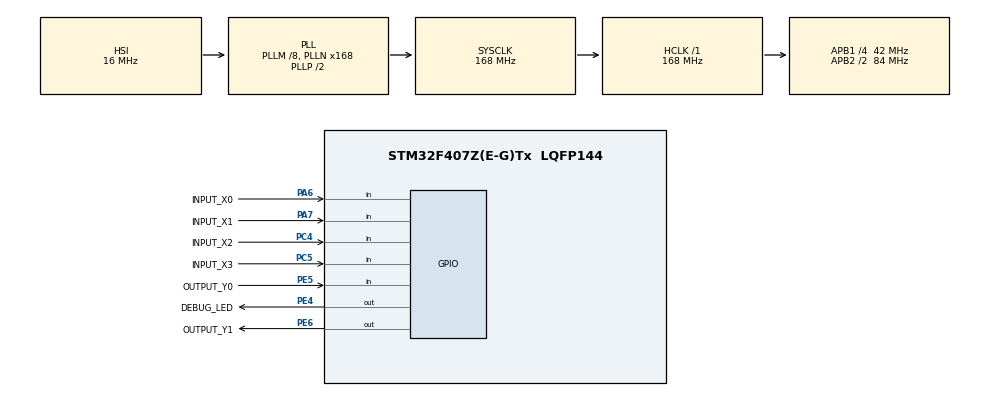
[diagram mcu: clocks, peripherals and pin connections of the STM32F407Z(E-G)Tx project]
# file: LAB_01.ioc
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Mcu.Family=STM32F4
Mcu.Name=STM32F407Z(E-G)Tx
Mcu.Package=LQFP144
NVIC.PriorityGroup=NVIC_PRIORITYGROUP_4
PA13.Mode=Serial_Wire
PA13.Signal=SYS_JTMS-SWDIO
PA14.Mode=Serial_Wire
PA14.Signal=SYS_JTCK-SWCLK
PA6.GPIO_Label=INPUT_X0
PA6.Signal=GPIO_Input
PA7.GPIO_Label=INPUT_X1
PA7.Signal=GPIO_Input
PC4.GPIO_Label=INPUT_X2
PC4.Signal=GPIO_Input
PC5.GPIO_Label=INPUT_X3
PC5.Signal=GPIO_Input
PE4.GPIO_Label=DEBUG_LED
PE4.Signal=GPIO_Output
PE5.GPIO_Label=OUTPUT_Y0
PE5.Signal=GPIO_Input
PE6.GPIO_Label=OUTPUT_Y1
PE6.Signal=GPIO_Output
PH0-OSC_IN.Mode=HSE-External-Oscillator
PH0-OSC_IN.Signal=RCC_OSC_IN
PH1-OSC_OUT.Mode=HSE-External-Oscillator
PH1-OSC_OUT.Signal=RCC_OSC_OUT
ProjectManager.HeapSize=0x200
ProjectManager.StackSize=0x400
ProjectManager.TargetToolchain=STM32CubeIDE
RCC.48MHZClocksFreq_Value=84000000
RCC.AHBFreq_Value=168000000
RCC.APB1CLKDivider=RCC_HCLK_DIV4
RCC.APB1Freq_Value=42000000
RCC.APB1TimFreq_Value=84000000
RCC.APB2CLKDivider=RCC_HCLK_DIV2
RCC.APB2Freq_Value=84000000
RCC.APB2TimFreq_Value=168000000
RCC.CortexFreq_Value=168000000
RCC.HCLKFreq_Value=168000000
RCC.HSE_VALUE=8000000
RCC.HSI_VALUE=16000000
RCC.LSE_VALUE=32768
RCC.PLLM=8
RCC.PLLN=168
RCC.SYSCLKFreq_VALUE=168000000
RCC.SYSCLKSource=RCC_SYSCLKSOURCE_PLLCLK
RCC.VCOOutputFreq_Value=336000000
board=custom

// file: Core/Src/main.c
/* USER CODE BEGIN Header */
/**
  ******************************************************************************
  * @file           : main.c
  * @brief          : Main program body
  ******************************************************************************
  * @attention
  *
  * <h2><center>&copy; Copyright (c) 2025 STMicroelectronics.
  * All rights reserved.</center></h2>
  *
  * This software component is licensed by ST under BSD 3-Clause license,
  * the "License"; You may not use this file except in compliance with the
  * License. You may obtain a copy of the License at:
  *                        opensource.org/licenses/BSD-3-Clause
  *
  ******************************************************************************
  */
/* USER CODE END Header */
#include "main.h"

void SystemClock_Config(void);
static void MX_GPIO_Init(void);

/* USER CODE BEGIN 0 */
void bai_1() {
	HAL_GPIO_WritePin(DEBUG_LED_GPIO_Port, DEBUG_LED_Pin, 1);
	HAL_Delay(2000);
	HAL_GPIO_WritePin(DEBUG_LED_GPIO_Port, DEBUG_LED_Pin, 0);
	HAL_Delay(4000);
}

int count_b2 = 6;

void bai_2() {
	if (count_b2 == 4)
		HAL_GPIO_WritePin(DEBUG_LED_GPIO_Port, DEBUG_LED_Pin, 1);
	else if (count_b2 == 0) {
		HAL_GPIO_WritePin(DEBUG_LED_GPIO_Port, DEBUG_LED_Pin, 0);
		count_b2 = 6;
	}
	--count_b2;
	HAL_Delay(1000);
}

int count_b3 = 9;

void bai_3() {
	switch (count_b3) {
	  case 6:
		  HAL_GPIO_WritePin(DEBUG_LED_GPIO_Port, DEBUG_LED_Pin, 0);
		  HAL_GPIO_WritePin(OUTPUT_Y0_GPIO_Port, OUTPUT_Y0_Pin, 1);
		  HAL_GPIO_WritePin(OUTPUT_Y1_GPIO_Port, OUTPUT_Y1_Pin, 0);
		  break;
	  case 5:
		  HAL_GPIO_WritePin(DEBUG_LED_GPIO_Port, DEBUG_LED_Pin, 0);
		  HAL_GPIO_WritePin(OUTPUT_Y0_GPIO_Port, OUTPUT_Y0_Pin, 0);
		  HAL_GPIO_WritePin(OUTPUT_Y1_GPIO_Port, OUTPUT_Y1_Pin, 1);
		  break;
	  case 0:
		  HAL_GPIO_WritePin(DEBUG_LED_GPIO_Port, DEBUG_LED_Pin, 1);
		  HAL_GPIO_WritePin(OUTPUT_Y0_GPIO_Port, OUTPUT_Y0_Pin, 0);
		  HAL_GPIO_WritePin(OUTPUT_Y1_GPIO_Port, OUTPUT_Y1_Pin, 0);
		  count_b3 = 9;
		  break;
	  }
	  HAL_Delay(1000);
	  --count_b3;
}
/* USER CODE END 0 */

int main(void)
{

  /* MCU Configuration--------------------------------------------------------*/

  /* Reset of all peripherals, Initializes the Flash interface and the Systick. */
  HAL_Init();

  /* Configure the system clock */
  SystemClock_Config();

  /* Initialize all configured peripherals */
  MX_GPIO_Init();

  /* Infinite loop */
  /* USER CODE BEGIN WHILE */
  HAL_GPIO_WritePin(DEBUG_LED_GPIO_Port, DEBUG_LED_Pin, 0);
  HAL_GPIO_WritePin(OUTPUT_Y0_GPIO_Port, OUTPUT_Y0_Pin, 0);
  HAL_GPIO_WritePin(OUTPUT_Y1_GPIO_Port, OUTPUT_Y1_Pin, 0);
  while (1)
  {
	  bai_1();
//	  bai_2();
//	  bai_3();
    /* USER CODE END WHILE */

  }
}

void SystemClock_Config(void)
{
  RCC_OscInitTypeDef RCC_OscInitStruct = {0};
  RCC_ClkInitTypeDef RCC_ClkInitStruct = {0};

  /** Configure the main internal regulator output voltage
  */
  __HAL_RCC_PWR_CLK_ENABLE();
  __HAL_PWR_VOLTAGESCALING_CONFIG(PWR_REGULATOR_VOLTAGE_SCALE1);
  /** Initializes the RCC Oscillators according to the specified parameters
  * in the RCC_OscInitTypeDef structure.
  */
  RCC_OscInitStruct.OscillatorType = RCC_OSCILLATORTYPE_HSI;
  RCC_OscInitStruct.HSIState = RCC_HSI_ON;
  RCC_OscInitStruct.HSICalibrationValue = RCC_HSICALIBRATION_DEFAULT;
  RCC_OscInitStruct.PLL.PLLState = RCC_PLL_ON;
  RCC_OscInitStruct.PLL.PLLSource = RCC_PLLSOURCE_HSI;
  RCC_OscInitStruct.PLL.PLLM = 8;
  RCC_OscInitStruct.PLL.PLLN = 168;
  RCC_OscInitStruct.PLL.PLLP = RCC_PLLP_DIV2;
  RCC_OscInitStruct.PLL.PLLQ = 4;
  if (HAL_RCC_OscConfig(&RCC_OscInitStruct) != HAL_OK)
  {
    Error_Handler();
  }
  /** Initializes the CPU, AHB and APB buses clocks
  */
  RCC_ClkInitStruct.ClockType = RCC_CLOCKTYPE_HCLK|RCC_CLOCKTYPE_SYSCLK
                              |RCC_CLOCKTYPE_PCLK1|RCC_CLOCKTYPE_PCLK2;
  RCC_ClkInitStruct.SYSCLKSource = RCC_SYSCLKSOURCE_PLLCLK;
  RCC_ClkInitStruct.AHBCLKDivider = RCC_SYSCLK_DIV1;
  RCC_ClkInitStruct.APB1CLKDivider = RCC_HCLK_DIV4;
  RCC_ClkInitStruct.APB2CLKDivider = RCC_HCLK_DIV2;

  if (HAL_RCC_ClockConfig(&RCC_ClkInitStruct, FLASH_LATENCY_5) != HAL_OK)
  {
    Error_Handler();
  }
}

static void MX_GPIO_Init(void)
{
  GPIO_InitTypeDef GPIO_InitStruct = {0};

  /* GPIO Ports Clock Enable */
  __HAL_RCC_GPIOE_CLK_ENABLE();
  __HAL_RCC_GPIOH_CLK_ENABLE();
  __HAL_RCC_GPIOA_CLK_ENABLE();
  __HAL_RCC_GPIOC_CLK_ENABLE();

  /*Configure GPIO pin Output Level */
  HAL_GPIO_WritePin(GPIOE, DEBUG_LED_Pin|OUTPUT_Y1_Pin, GPIO_PIN_RESET);

  /*Configure GPIO pins : DEBUG_LED_Pin OUTPUT_Y1_Pin */
  GPIO_InitStruct.Pin = DEBUG_LED_Pin|OUTPUT_Y1_Pin;
  GPIO_InitStruct.Mode = GPIO_MODE_OUTPUT_PP;
  GPIO_InitStruct.Pull = GPIO_NOPULL;
  GPIO_InitStruct.Speed = GPIO_SPEED_FREQ_LOW;
  HAL_GPIO_Init(GPIOE, &GPIO_InitStruct);

  /*Configure GPIO pin : OUTPUT_Y0_Pin */
  GPIO_InitStruct.Pin = OUTPUT_Y0_Pin;
  GPIO_InitStruct.Mode = GPIO_MODE_INPUT;
  GPIO_InitStruct.Pull = GPIO_NOPULL;
  HAL_GPIO_Init(OUTPUT_Y0_GPIO_Port, &GPIO_InitStruct);

  /*Configure GPIO pins : INPUT_X0_Pin INPUT_X1_Pin */
  GPIO_InitStruct.Pin = INPUT_X0_Pin|INPUT_X1_Pin;
  GPIO_InitStruct.Mode = GPIO_MODE_INPUT;
  GPIO_InitStruct.Pull = GPIO_NOPULL;
  HAL_GPIO_Init(GPIOA, &GPIO_InitStruct);

  /*Configure GPIO pins : INPUT_X2_Pin INPUT_X3_Pin */
  GPIO_InitStruct.Pin = INPUT_X2_Pin|INPUT_X3_Pin;
  GPIO_InitStruct.Mode = GPIO_MODE_INPUT;
  GPIO_InitStruct.Pull = GPIO_NOPULL;
  HAL_GPIO_Init(GPIOC, &GPIO_InitStruct);

}

void Error_Handler(void)
{
  __disable_irq();
  while (1)
  {
  }
}

/************************ (C) COPYRIGHT STMicroelectronics *****END OF FILE****/
